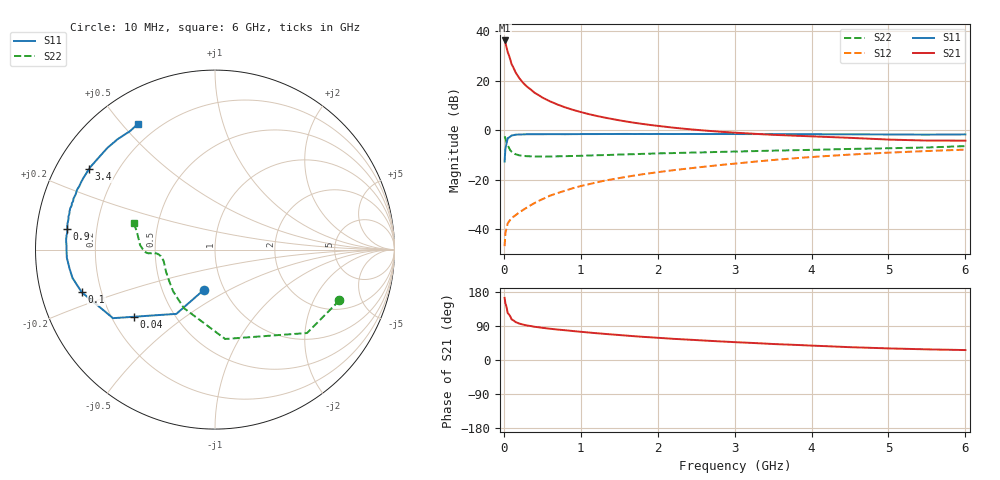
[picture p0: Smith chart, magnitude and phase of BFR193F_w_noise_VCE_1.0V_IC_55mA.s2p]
! Infineon Technologies  Discrete & RF Semiconductors
! BFR193F
! VCE =  1.0 V,  IC =  55 mA
! Common Emitter S-Parameters:  Jan 2017
# GHz  S  MA  R  50
!  f  S11  S21  S12  S22
! GHz  MAG  ANG  MAG  ANG  MAG  ANG  MAG  ANG
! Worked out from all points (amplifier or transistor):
!   77 points, 10 MHz to 6 GHz, reference 50 ohm
!   highest |S21| = 36.1 dB at 10 MHz (marker M1)
!   |S21| within 3 dB of that: start of sweep to 36.6 MHz
!   unconditionally stable (mu >= 1): 391.3 MHz to 3.41 GHz; 5.26 GHz to 5.618 GHz
!   at 130 MHz: K = 0.63, MSG = 29.8 dB, |S12| = -34.8 dB
!   at 2.2 GHz: K = 1.09, MAG = 6.8 dB, |S12| = -16.1 dB
!   at 6 GHz: K = 0.98, MSG = 1.8 dB, |S12| = -7.8 dB
!   lowest NFmin = 1.56 dB at 450 MHz
!   S11 on the Smith chart (normalised r, x): 10 MHz: 0.80, -0.38; 40 MHz: 0.29, -0.33; 100 MHz: 0.13, -0.15; 900 MHz: 0.09, +0.07; 3.4 GHz: 0.10, +0.29; 6 GHz: 0.13, +0.55
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0.01  0.2327 -105.5  64.1 164.0  0.0046 76.3  0.7488 -22.2
0.02  0.4178 -121.0  57.62 149.5  0.0083 66.9  0.6921 -42.2
0.04  0.5857 -140.3  43.17 135.0  0.0114 51.6  0.5298 -66.8
0.05  0.6849 -146.1  37.57 123.9  0.0132 46.8  0.5012 -83.5
0.1  0.7797 -162.3  21.53 107.3  0.0169 42.7  0.3692 -118.0
0.15  0.8094 -168.7  14.81 100.4  0.0192 47.5  0.3293 -135.1
0.2  0.8172 -172.5  11.21 96.1  0.022 50.4  0.311 -144.6
0.25  0.8221 -175.1  9.003 93.4  0.0247 54.9  0.3024 -151.7
0.3  0.8268 -176.9  7.539 91.1  0.0276 58.5  0.299 -156.0
0.4  0.8271 -179.7  5.659 87.6  0.0341 62.8  0.2944 -162.1
0.5  0.8281 178.3  4.548 85.0  0.0406 65.9  0.2932 -165.8
0.6  0.8311 176.5  3.805 82.5  0.0479 68.3  0.2939 -168.4
0.7  0.831 174.7  3.271 80.3  0.0541 69.0  0.2969 -169.9
0.9  0.8315 172.0  2.561 76.4  0.0679 71.4  0.3016 -172.5
1.1  0.8343 169.6  2.112 72.6  0.0811 72.2  0.3086 -173.8
1.5  0.838 165.1  1.579 65.9  0.1083 72.6  0.3228 -175.7
2.1  0.8366 159.3  1.171 57.3  0.149 71.5  0.3427 -176.6
3.1  0.8341 150.4  0.873 46.2  0.2192 68.6  0.3733 -176.9
3.4  0.8331 147.5  0.821 43.3  0.2426 67.1  0.3831 -177.5
4.1  0.8254 140.7  0.74 37.2  0.2944 62.7  0.4043 179.3
5.1  0.8179 130.1  0.64 30.1  0.3576 55.4  0.4349 170.4
6  0.8216 121.4  0.615 26.2  0.4052 49.4  0.4768 161.9
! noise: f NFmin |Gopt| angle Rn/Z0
0.45  1.56  0.48  -179  0.07
0.9  1.64  0.49  -177  0.08
1.9  2.22  0.6  -163  0.1
2.4  2.54  0.62  -155  0.16
